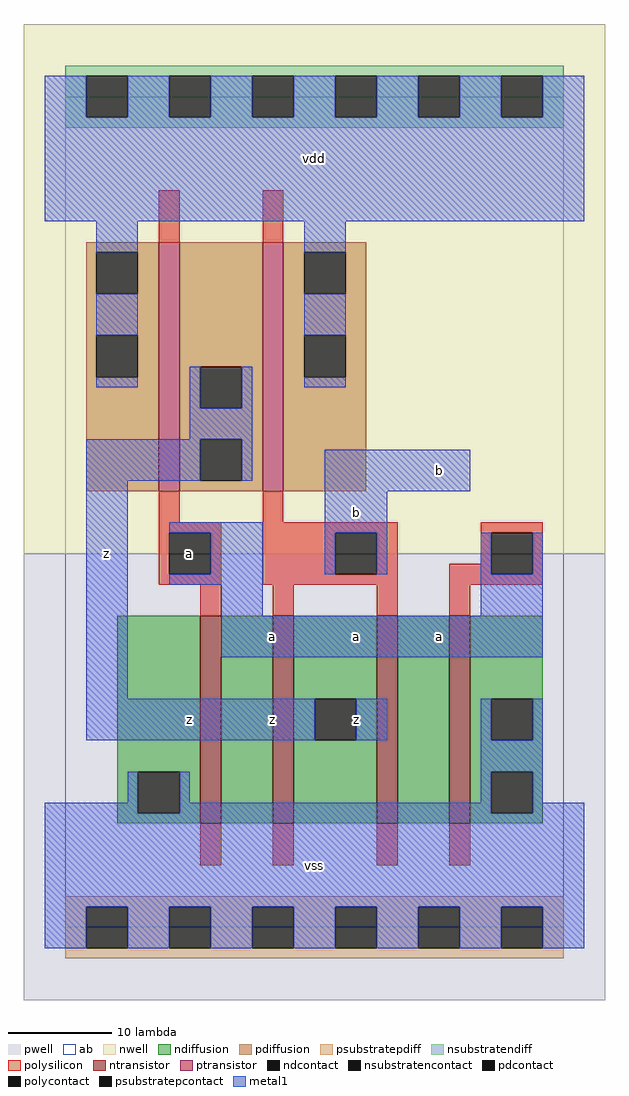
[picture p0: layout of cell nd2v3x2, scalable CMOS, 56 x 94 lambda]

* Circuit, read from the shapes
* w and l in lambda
.subckt nd2v3x2 a b vdd vss z
M1 n1 a vss vss nfet w=20 l=2
M2 z b n1 vss nfet w=20 l=2
M3 n2 b z vss nfet w=20 l=2
M4 vss a n2 vss nfet w=20 l=2
M5 z a vdd vdd pfet w=24 l=2
M6 vdd b z vdd pfet w=24 l=2
.ends

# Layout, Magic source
magic
tech scmos
<< ab >>
rect 0 0 48 80
<< pwell >>
rect -4 -7 52 36
<< nwell >>
rect -4 36 52 87
<< polysilicon >>
rect 9 66 11 71
rect 19 66 21 71
rect 9 39 11 42
rect 19 39 21 42
rect 9 38 15 39
rect 9 34 10 38
rect 14 34 15 38
rect 9 33 15 34
rect 19 38 32 39
rect 19 34 26 38
rect 30 34 32 38
rect 40 38 46 39
rect 40 35 41 38
rect 19 33 32 34
rect 13 30 15 33
rect 20 30 22 33
rect 30 30 32 33
rect 37 34 41 35
rect 45 34 46 38
rect 37 33 46 34
rect 37 30 39 33
rect 13 6 15 10
rect 20 6 22 10
rect 30 6 32 10
rect 37 6 39 10
<< ndiffusion >>
rect 5 15 13 30
rect 5 11 7 15
rect 11 11 13 15
rect 5 10 13 11
rect 15 10 20 30
rect 22 22 30 30
rect 22 18 24 22
rect 28 18 30 22
rect 22 10 30 18
rect 32 10 37 30
rect 39 22 46 30
rect 39 18 41 22
rect 45 18 46 22
rect 39 15 46 18
rect 39 11 41 15
rect 45 11 46 15
rect 39 10 46 11
<< pdiffusion >>
rect 2 65 9 66
rect 2 61 3 65
rect 7 61 9 65
rect 2 57 9 61
rect 2 53 3 57
rect 7 53 9 57
rect 2 42 9 53
rect 11 54 19 66
rect 11 50 13 54
rect 17 50 19 54
rect 11 47 19 50
rect 11 43 13 47
rect 17 43 19 47
rect 11 42 19 43
rect 21 65 29 66
rect 21 61 23 65
rect 27 61 29 65
rect 21 57 29 61
rect 21 53 23 57
rect 27 53 29 57
rect 21 42 29 53
<< metal1 >>
rect -2 78 2 82
rect 6 78 10 82
rect 14 78 18 82
rect 22 78 26 82
rect 30 78 34 82
rect 38 78 42 82
rect 46 78 50 82
rect -2 68 50 78
rect 3 65 7 68
rect 3 57 7 61
rect 23 65 27 68
rect 23 57 27 61
rect 3 52 7 53
rect 12 50 13 54
rect 17 50 18 54
rect 23 52 27 53
rect 12 47 18 50
rect 2 43 13 47
rect 17 43 18 47
rect 2 22 6 43
rect 25 42 39 46
rect 10 38 19 39
rect 14 34 19 38
rect 25 38 31 42
rect 25 34 26 38
rect 30 34 31 38
rect 40 34 41 38
rect 45 34 46 38
rect 10 33 19 34
rect 15 30 19 33
rect 40 30 46 34
rect 15 26 46 30
rect 2 18 24 22
rect 28 18 31 22
rect 40 18 41 22
rect 45 18 46 22
rect 40 15 46 18
rect 6 12 7 15
rect -2 11 7 12
rect 11 12 12 15
rect 40 12 41 15
rect 11 11 41 12
rect 45 12 46 15
rect 45 11 50 12
rect -2 2 50 11
rect -2 -2 2 2
rect 6 -2 10 2
rect 14 -2 18 2
rect 22 -2 26 2
rect 30 -2 34 2
rect 38 -2 42 2
rect 46 -2 50 2
<< ntransistor >>
rect 13 10 15 30
rect 20 10 22 30
rect 30 10 32 30
rect 37 10 39 30
<< ptransistor >>
rect 9 42 11 66
rect 19 42 21 66
<< polycontact >>
rect 10 34 14 38
rect 26 34 30 38
rect 41 34 45 38
<< ndcontact >>
rect 7 11 11 15
rect 24 18 28 22
rect 41 18 45 22
rect 41 11 45 15
<< pdcontact >>
rect 3 61 7 65
rect 3 53 7 57
rect 13 50 17 54
rect 13 43 17 47
rect 23 61 27 65
rect 23 53 27 57
<< psubstratepcontact >>
rect 2 -2 6 2
rect 10 -2 14 2
rect 18 -2 22 2
rect 26 -2 30 2
rect 34 -2 38 2
rect 42 -2 46 2
<< nsubstratencontact >>
rect 2 78 6 82
rect 10 78 14 82
rect 18 78 22 82
rect 26 78 30 82
rect 34 78 38 82
rect 42 78 46 82
<< psubstratepdiff >>
rect 0 2 48 3
rect 0 -2 2 2
rect 6 -2 10 2
rect 14 -2 18 2
rect 22 -2 26 2
rect 30 -2 34 2
rect 38 -2 42 2
rect 46 -2 48 2
rect 0 -3 48 -2
<< nsubstratendiff >>
rect 0 82 48 83
rect 0 78 2 82
rect 6 78 10 82
rect 14 78 18 82
rect 22 78 26 82
rect 30 78 34 82
rect 38 78 42 82
rect 46 78 48 82
rect 0 77 48 78
<< labels >>
rlabel metal1 4 36 4 36 6 z
rlabel metal1 20 20 20 20 6 z
rlabel metal1 12 20 12 20 6 z
rlabel polycontact 12 36 12 36 6 a
rlabel metal1 20 28 20 28 6 a
rlabel metal1 24 6 24 6 6 vss
rlabel metal1 28 20 28 20 6 z
rlabel metal1 28 28 28 28 6 a
rlabel metal1 28 40 28 40 6 b
rlabel metal1 24 74 24 74 6 vdd
rlabel metal1 36 28 36 28 6 a
rlabel metal1 36 44 36 44 6 b
<< end >>
